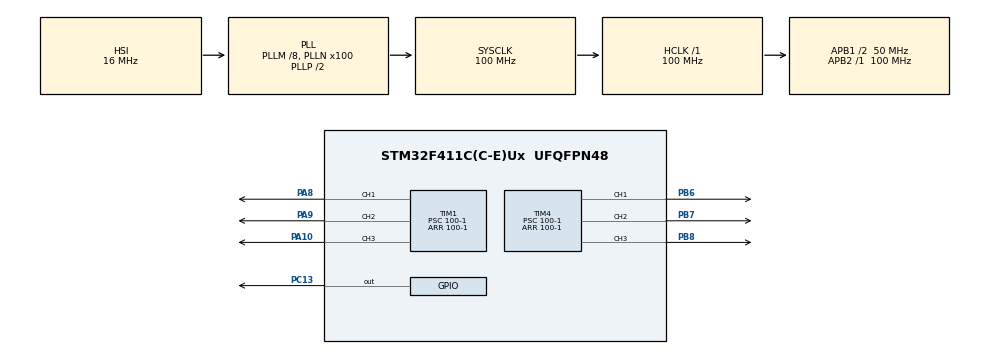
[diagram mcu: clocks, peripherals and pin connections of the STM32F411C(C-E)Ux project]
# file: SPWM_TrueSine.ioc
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Mcu.Family=STM32F4
Mcu.Name=STM32F411C(C-E)Ux
Mcu.Package=UFQFPN48
NVIC.PriorityGroup=NVIC_PRIORITYGROUP_4
NVIC.TIM3_IRQn=true\:0\:0\:false\:false\:true\:true\:true\:true
PA10.Signal=S_TIM1_CH3
PA13.Mode=Serial_Wire
PA13.Signal=SYS_JTMS-SWDIO
PA14.Mode=Serial_Wire
PA14.Signal=SYS_JTCK-SWCLK
PA8.Signal=S_TIM1_CH1
PA9.Signal=S_TIM1_CH2
PB6.Signal=S_TIM4_CH1
PB7.Signal=S_TIM4_CH2
PB8.Signal=S_TIM4_CH3
PC13-ANTI_TAMP.Signal=GPIO_Output
ProjectManager.HeapSize=0x200
ProjectManager.StackSize=0x400
ProjectManager.TargetToolchain=STM32CubeIDE
RCC.48MHZClocksFreq_Value=50000000
RCC.AHBFreq_Value=100000000
RCC.APB1CLKDivider=RCC_HCLK_DIV2
RCC.APB1Freq_Value=50000000
RCC.APB1TimFreq_Value=100000000
RCC.APB2Freq_Value=100000000
RCC.APB2TimFreq_Value=100000000
RCC.CortexFreq_Value=100000000
RCC.HCLKFreq_Value=100000000
RCC.HSE_VALUE=25000000
RCC.HSI_VALUE=16000000
RCC.LSE_VALUE=32768
RCC.PLLM=8
RCC.PLLN=100
RCC.SYSCLKFreq_VALUE=100000000
RCC.SYSCLKSource=RCC_SYSCLKSOURCE_PLLCLK
RCC.VCOOutputFreq_Value=200000000
SH.S_TIM1_CH1.0=TIM1_CH1,PWM Generation1 CH1
SH.S_TIM1_CH2.0=TIM1_CH2,PWM Generation2 CH2
SH.S_TIM1_CH3.0=TIM1_CH3,PWM Generation3 CH3
SH.S_TIM4_CH1.0=TIM4_CH1,PWM Generation1 CH1
SH.S_TIM4_CH2.0=TIM4_CH2,PWM Generation2 CH2
SH.S_TIM4_CH3.0=TIM4_CH3,PWM Generation3 CH3
TIM1.AutoReloadPreload=TIM_AUTORELOAD_PRELOAD_ENABLE
TIM1.Channel-PWM\ Generation1\ CH1=TIM_CHANNEL_1
TIM1.Channel-PWM\ Generation2\ CH2=TIM_CHANNEL_2
TIM1.Channel-PWM\ Generation3\ CH3=TIM_CHANNEL_3
TIM1.CounterMode=TIM_COUNTERMODE_CENTERALIGNED1
TIM1.Period=100-1
TIM1.Prescaler=100-1
TIM1.Pulse-PWM\ Generation1\ CH1=0
TIM1.Pulse-PWM\ Generation2\ CH2=100
TIM3.Channel-PWM\ Generation1\ CH1=TIM_CHANNEL_1
TIM3.CounterMode=TIM_COUNTERMODE_CENTERALIGNED1
TIM3.Period=50-1
TIM3.Prescaler=100-1
TIM4.Channel-PWM\ Generation1\ CH1=TIM_CHANNEL_1
TIM4.Channel-PWM\ Generation2\ CH2=TIM_CHANNEL_2
TIM4.Channel-PWM\ Generation3\ CH3=TIM_CHANNEL_3
TIM4.CounterMode=TIM_COUNTERMODE_CENTERALIGNED1
TIM4.Period=100-1
TIM4.Prescaler=100-1
VP_TIM3_VS_ClockSourceINT.Mode=Internal
VP_TIM4_VS_ClockSourceINT.Mode=Internal
board=custom

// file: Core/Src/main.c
/* USER CODE BEGIN Header */
/**
  ******************************************************************************
  * @file           : main.c
  * @brief          : Main program body
  ******************************************************************************
  * @attention
  *
  * Copyright (c) 2025 STMicroelectronics.
  * All rights reserved.
  *
  * This software is licensed under terms that can be found in the LICENSE file
  * in the root directory of this software component.
  * If no LICENSE file comes with this software, it is provided AS-IS.
  *
  ******************************************************************************
  */
/* USER CODE END Header */
#include "main.h"

TIM_HandleTypeDef htim1;
TIM_HandleTypeDef htim3;
TIM_HandleTypeDef htim4;

void SystemClock_Config(void);
static void MX_GPIO_Init(void);
static void MX_TIM1_Init(void);
static void MX_TIM3_Init(void);
static void MX_TIM4_Init(void);

/* USER CODE BEGIN 0 */

float freq_mod = 50.0;
volatile uint8_t amplitude = 50-1; //max counter val
uint8_t it = 0;

/* USER CODE END 0 */

int main(void)
{

  /* MCU Configuration--------------------------------------------------------*/

  /* Reset of all peripherals, Initializes the Flash interface and the Systick. */
  HAL_Init();

  /* Configure the system clock */
  SystemClock_Config();

  /* Initialize all configured peripherals */
  MX_GPIO_Init();
  MX_TIM1_Init();
  MX_TIM3_Init();
  MX_TIM4_Init();
  /* USER CODE BEGIN 2 */

  HAL_TIM_PWM_Start(&htim1, TIM_CHANNEL_1);
  HAL_TIM_PWM_Start(&htim1, TIM_CHANNEL_2);
  HAL_TIM_PWM_Start(&htim1, TIM_CHANNEL_3);

  HAL_TIM_PWM_Start(&htim4, TIM_CHANNEL_1);
  HAL_TIM_PWM_Start(&htim4, TIM_CHANNEL_2);
  HAL_TIM_PWM_Start(&htim4, TIM_CHANNEL_3);

  HAL_TIM_Base_Start_IT(&htim3);

  /* USER CODE END 2 */

  /* Infinite loop */
  /* USER CODE BEGIN WHILE */
  while (1)
  {
//	  amplitude = amplitude + 1;
//	  if(amplitude > 100){
//		  amplitude=0;
//	  }
//
//	  HAL_Delay(100);

    /* USER CODE END WHILE */

  }
}

void SystemClock_Config(void)
{
  RCC_OscInitTypeDef RCC_OscInitStruct = {0};
  RCC_ClkInitTypeDef RCC_ClkInitStruct = {0};

  /** Configure the main internal regulator output voltage
  */
  __HAL_RCC_PWR_CLK_ENABLE();
  __HAL_PWR_VOLTAGESCALING_CONFIG(PWR_REGULATOR_VOLTAGE_SCALE1);

  /** Initializes the RCC Oscillators according to the specified parameters
  * in the RCC_OscInitTypeDef structure.
  */
  RCC_OscInitStruct.OscillatorType = RCC_OSCILLATORTYPE_HSI;
  RCC_OscInitStruct.HSIState = RCC_HSI_ON;
  RCC_OscInitStruct.HSICalibrationValue = RCC_HSICALIBRATION_DEFAULT;
  RCC_OscInitStruct.PLL.PLLState = RCC_PLL_ON;
  RCC_OscInitStruct.PLL.PLLSource = RCC_PLLSOURCE_HSI;
  RCC_OscInitStruct.PLL.PLLM = 8;
  RCC_OscInitStruct.PLL.PLLN = 100;
  RCC_OscInitStruct.PLL.PLLP = RCC_PLLP_DIV2;
  RCC_OscInitStruct.PLL.PLLQ = 4;
  if (HAL_RCC_OscConfig(&RCC_OscInitStruct) != HAL_OK)
  {
    Error_Handler();
  }

  /** Initializes the CPU, AHB and APB buses clocks
  */
  RCC_ClkInitStruct.ClockType = RCC_CLOCKTYPE_HCLK|RCC_CLOCKTYPE_SYSCLK
                              |RCC_CLOCKTYPE_PCLK1|RCC_CLOCKTYPE_PCLK2;
  RCC_ClkInitStruct.SYSCLKSource = RCC_SYSCLKSOURCE_PLLCLK;
  RCC_ClkInitStruct.AHBCLKDivider = RCC_SYSCLK_DIV1;
  RCC_ClkInitStruct.APB1CLKDivider = RCC_HCLK_DIV2;
  RCC_ClkInitStruct.APB2CLKDivider = RCC_HCLK_DIV1;

  if (HAL_RCC_ClockConfig(&RCC_ClkInitStruct, FLASH_LATENCY_3) != HAL_OK)
  {
    Error_Handler();
  }
}

static void MX_TIM1_Init(void)
{

  TIM_MasterConfigTypeDef sMasterConfig = {0};
  TIM_OC_InitTypeDef sConfigOC = {0};
  TIM_BreakDeadTimeConfigTypeDef sBreakDeadTimeConfig = {0};

  htim1.Instance = TIM1;
  htim1.Init.Prescaler = 100-1;
  htim1.Init.CounterMode = TIM_COUNTERMODE_CENTERALIGNED1;
  htim1.Init.Period = 100-1;
  htim1.Init.ClockDivision = TIM_CLOCKDIVISION_DIV1;
  htim1.Init.RepetitionCounter = 0;
  htim1.Init.AutoReloadPreload = TIM_AUTORELOAD_PRELOAD_ENABLE;
  if (HAL_TIM_PWM_Init(&htim1) != HAL_OK)
  {
    Error_Handler();
  }
  sMasterConfig.MasterOutputTrigger = TIM_TRGO_RESET;
  sMasterConfig.MasterSlaveMode = TIM_MASTERSLAVEMODE_DISABLE;
  if (HAL_TIMEx_MasterConfigSynchronization(&htim1, &sMasterConfig) != HAL_OK)
  {
    Error_Handler();
  }
  sConfigOC.OCMode = TIM_OCMODE_PWM1;
  sConfigOC.Pulse = 0;
  sConfigOC.OCPolarity = TIM_OCPOLARITY_HIGH;
  sConfigOC.OCNPolarity = TIM_OCNPOLARITY_HIGH;
  sConfigOC.OCFastMode = TIM_OCFAST_DISABLE;
  sConfigOC.OCIdleState = TIM_OCIDLESTATE_RESET;
  sConfigOC.OCNIdleState = TIM_OCNIDLESTATE_RESET;
  if (HAL_TIM_PWM_ConfigChannel(&htim1, &sConfigOC, TIM_CHANNEL_1) != HAL_OK)
  {
    Error_Handler();
  }
  sConfigOC.Pulse = 100;
  if (HAL_TIM_PWM_ConfigChannel(&htim1, &sConfigOC, TIM_CHANNEL_2) != HAL_OK)
  {
    Error_Handler();
  }
  sConfigOC.Pulse = 0;
  if (HAL_TIM_PWM_ConfigChannel(&htim1, &sConfigOC, TIM_CHANNEL_3) != HAL_OK)
  {
    Error_Handler();
  }
  sBreakDeadTimeConfig.OffStateRunMode = TIM_OSSR_DISABLE;
  sBreakDeadTimeConfig.OffStateIDLEMode = TIM_OSSI_DISABLE;
  sBreakDeadTimeConfig.LockLevel = TIM_LOCKLEVEL_OFF;
  sBreakDeadTimeConfig.DeadTime = 0;
  sBreakDeadTimeConfig.BreakState = TIM_BREAK_DISABLE;
  sBreakDeadTimeConfig.BreakPolarity = TIM_BREAKPOLARITY_HIGH;
  sBreakDeadTimeConfig.AutomaticOutput = TIM_AUTOMATICOUTPUT_DISABLE;
  if (HAL_TIMEx_ConfigBreakDeadTime(&htim1, &sBreakDeadTimeConfig) != HAL_OK)
  {
    Error_Handler();
  }
  HAL_TIM_MspPostInit(&htim1);

}

static void MX_TIM3_Init(void)
{

  TIM_ClockConfigTypeDef sClockSourceConfig = {0};
  TIM_MasterConfigTypeDef sMasterConfig = {0};

  htim3.Instance = TIM3;
  htim3.Init.Prescaler = 100-1;
  htim3.Init.CounterMode = TIM_COUNTERMODE_CENTERALIGNED1;
  htim3.Init.Period = 50-1;
  htim3.Init.ClockDivision = TIM_CLOCKDIVISION_DIV1;
  htim3.Init.AutoReloadPreload = TIM_AUTORELOAD_PRELOAD_DISABLE;
  if (HAL_TIM_Base_Init(&htim3) != HAL_OK)
  {
    Error_Handler();
  }
  sClockSourceConfig.ClockSource = TIM_CLOCKSOURCE_INTERNAL;
  if (HAL_TIM_ConfigClockSource(&htim3, &sClockSourceConfig) != HAL_OK)
  {
    Error_Handler();
  }
  sMasterConfig.MasterOutputTrigger = TIM_TRGO_RESET;
  sMasterConfig.MasterSlaveMode = TIM_MASTERSLAVEMODE_DISABLE;
  if (HAL_TIMEx_MasterConfigSynchronization(&htim3, &sMasterConfig) != HAL_OK)
  {
    Error_Handler();
  }

}

static void MX_TIM4_Init(void)
{

  TIM_ClockConfigTypeDef sClockSourceConfig = {0};
  TIM_MasterConfigTypeDef sMasterConfig = {0};
  TIM_OC_InitTypeDef sConfigOC = {0};

  htim4.Instance = TIM4;
  htim4.Init.Prescaler = 100-1;
  htim4.Init.CounterMode = TIM_COUNTERMODE_CENTERALIGNED1;
  htim4.Init.Period = 100-1;
  htim4.Init.ClockDivision = TIM_CLOCKDIVISION_DIV1;
  htim4.Init.AutoReloadPreload = TIM_AUTORELOAD_PRELOAD_DISABLE;
  if (HAL_TIM_Base_Init(&htim4) != HAL_OK)
  {
    Error_Handler();
  }
  sClockSourceConfig.ClockSource = TIM_CLOCKSOURCE_INTERNAL;
  if (HAL_TIM_ConfigClockSource(&htim4, &sClockSourceConfig) != HAL_OK)
  {
    Error_Handler();
  }
  if (HAL_TIM_PWM_Init(&htim4) != HAL_OK)
  {
    Error_Handler();
  }
  sMasterConfig.MasterOutputTrigger = TIM_TRGO_RESET;
  sMasterConfig.MasterSlaveMode = TIM_MASTERSLAVEMODE_DISABLE;
  if (HAL_TIMEx_MasterConfigSynchronization(&htim4, &sMasterConfig) != HAL_OK)
  {
    Error_Handler();
  }
  sConfigOC.OCMode = TIM_OCMODE_PWM1;
  sConfigOC.Pulse = 0;
  sConfigOC.OCPolarity = TIM_OCPOLARITY_HIGH;
  sConfigOC.OCFastMode = TIM_OCFAST_DISABLE;
  if (HAL_TIM_PWM_ConfigChannel(&htim4, &sConfigOC, TIM_CHANNEL_1) != HAL_OK)
  {
    Error_Handler();
  }
  if (HAL_TIM_PWM_ConfigChannel(&htim4, &sConfigOC, TIM_CHANNEL_2) != HAL_OK)
  {
    Error_Handler();
  }
  if (HAL_TIM_PWM_ConfigChannel(&htim4, &sConfigOC, TIM_CHANNEL_3) != HAL_OK)
  {
    Error_Handler();
  }
  HAL_TIM_MspPostInit(&htim4);

}

static void MX_GPIO_Init(void)
{
  GPIO_InitTypeDef GPIO_InitStruct = {0};

  /* GPIO Ports Clock Enable */
  __HAL_RCC_GPIOC_CLK_ENABLE();
  __HAL_RCC_GPIOA_CLK_ENABLE();
  __HAL_RCC_GPIOB_CLK_ENABLE();

  /*Configure GPIO pin Output Level */
  HAL_GPIO_WritePin(GPIOC, GPIO_PIN_13, GPIO_PIN_RESET);

  /*Configure GPIO pin : PC13 */
  GPIO_InitStruct.Pin = GPIO_PIN_13;
  GPIO_InitStruct.Mode = GPIO_MODE_OUTPUT_PP;
  GPIO_InitStruct.Pull = GPIO_NOPULL;
  GPIO_InitStruct.Speed = GPIO_SPEED_FREQ_LOW;
  HAL_GPIO_Init(GPIOC, &GPIO_InitStruct);

}

/* USER CODE BEGIN 4 */
uint8_t timer_interrupt_check;
float freq_carr = 10000.0;
//float freq_mod = 50.0;
const uint16_t sampleNum = 200;
uint8_t i = 0;
//uint8_t amplitude = 100-1; //max counter val

float radVal = 2 * 3.14 / sampleNum;
float offset120 = (1.0/3.0) * sampleNum;
float offset240 = (2.0/3.0) * sampleNum;

float sin_val0, sin_val120, sin_val240;

void HAL_TIM_PeriodElapsedCallback(TIM_HandleTypeDef *htim)
{
	//HAL_GPIO_TogglePin(GPIOC, GPIO_PIN_13);
	sin_val0 =  amplitude * sin (radVal * i);
	sin_val0 = round(sin_val0);

	sin_val120 = amplitude * sin (radVal * (i + offset120));
	sin_val120 = round(sin_val120);

	sin_val240 =  amplitude * sin (radVal * (i + offset240));
	sin_val240 = round(sin_val240);

	if (sin_val0 == 0)   TIM1->CCR1 = 0; TIM4->CCR1 = 0;   //TIM1->CCR1 = abs(sin_val0); //LOW Side
	if (sin_val0 > 0)    TIM1->CCR1 = sin_val0;
//	if (sin_val0 < 0)    TIM1->CCR1 = amplitude + sin_val0;
	if (sin_val0 < 0)    TIM4->CCR1 = fabs(sin_val0);

	if (sin_val120 == 0)   TIM1->CCR2 = 0; TIM4->CCR2 = 0;   //WRITE_PERI_REG(DR_REG_PWM0_BASE + 0x007C, 0);
	if (sin_val120 > 0)    TIM1->CCR2 = sin_val120; TIM4->CCR2 = 0;
//	if (sin_val120 < 0)    TIM1->CCR2 = amplitude + sin_val120;
	if (sin_val120 < 0)    TIM1->CCR2 = 0; TIM4->CCR2 = amplitude + sin_val120;

	if (sin_val240 == 0)   TIM1->CCR3 = 0; TIM4->CCR3 = 0;  // TIM1->CCR3 = 0;
	if (sin_val240 > 0)    TIM1->CCR3 = sin_val240; TIM4->CCR3 = 0;
//	if (sin_val240 < 0)    TIM1->CCR3 = amplitude + sin_val240;
	if (sin_val240 < 0)    TIM1->CCR3 = 0; TIM4->CCR3 = amplitude + sin_val240;

	i++;
	if (i > sampleNum ) i=0;

//	if (sineValue>0){
//		TIM1->CCR1 = round(sineValue);
//	}
//	else{
//		TIM1->CCR1 = round(amplitude + sineValue);
//	}
//
//	i++;
//	if (i > sampleNum ) i=0;

}

/* USER CODE END 4 */

void Error_Handler(void)
{
  __disable_irq();
  while (1)
  {
  }
}
